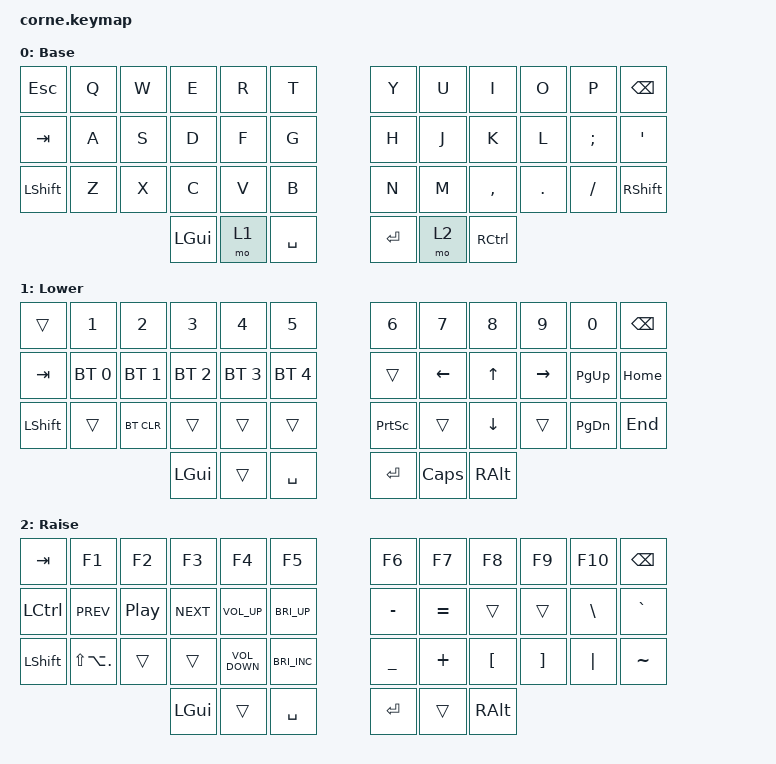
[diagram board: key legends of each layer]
/*
 * Copyright (c) 2020 The ZMK Contributors
 *
 * SPDX-License-Identifier: MIT
 */

#include <behaviors.dtsi>
#include <dt-bindings/zmk/bt.h>
#include <dt-bindings/zmk/keys.h>

/ {
    keymap {
        compatible = "zmk,keymap";

        default_layer {
            // -----------------------------------------------------------------------------------------
            // |  TAB |  Q  |  W  |  E  |  R  |  T  |   |  Y  |  U   |  I  |  O  |  P  | BKSP |
            // | CTRL |  A  |  S  |  D  |  F  |  G  |   |  H  |  J   |  K  |  L  |  ;  |  '   |
            // | SHFT |  Z  |  X  |  C  |  V  |  B  |   |  N  |  M   |  ,  |  .  |  /  | ESC  |
            //                    | GUI | LWR | SPC |   | ENT | RSE  | ALT |

            display-name = "Base";
            bindings = <
&kp ESC    &kp Q  &kp W  &kp E     &kp R  &kp T        &kp Y    &kp U  &kp I      &kp O    &kp P     &kp BSPC
&kp TAB    &kp A  &kp S  &kp D     &kp F  &kp G        &kp H    &kp J  &kp K      &kp L    &kp SEMI  &kp SQT
&kp LSHFT  &kp Z  &kp X  &kp C     &kp V  &kp B        &kp N    &kp M  &kp COMMA  &kp DOT  &kp FSLH  &kp RIGHT_SHIFT
                         &kp LGUI  &mo 1  &kp SPACE    &kp RET  &mo 2  &kp RCTRL
            >;
        };

        lower_layer {
            // -----------------------------------------------------------------------------------------
            // |  TAB |  1  |  2  |  3  |  4  |  5  |   |  6  |  7  |  8  |  9  |  0  | BKSP |
            // | BTCLR| BT1 | BT2 | BT3 | BT4 | BT5 |   | LFT | DWN |  UP | RGT |     |      |
            // | SHFT |     |     |     |     |     |   |     |     |     |     |     |      |
            //                    | GUI |     | SPC |   | ENT |     | ALT |

            display-name = "Lower";
            bindings = <
&trans     &kp N1        &kp N2        &kp N3        &kp N4        &kp N5          &kp N6           &kp N7    &kp N8          &kp N9     &kp N0         &kp BSPC
&kp TAB    &bt BT_SEL 0  &bt BT_SEL 1  &bt BT_SEL 2  &bt BT_SEL 3  &bt BT_SEL 4    &trans           &kp LEFT  &kp UP          &kp RIGHT  &kp PG_UP      &kp HOME
&kp LSHFT  &trans        &bt BT_CLR    &trans        &trans        &trans          &kp PRINTSCREEN  &trans    &kp DOWN_ARROW  &trans     &kp PAGE_DOWN  &kp END
                                       &kp LGUI      &trans        &kp SPACE       &kp RET          &kp CAPS  &kp RALT
            >;
        };

        raise_layer {
            // -----------------------------------------------------------------------------------------
            // |  TAB |  !  |  @  |  #  |  $  |  %  |   |  ^  |  &  |  *  |  (  |  )  | BKSP |
            // | CTRL |     |     |     |     |     |   |  -  |  =  |  [  |  ]  |  \  |  `   |
            // | SHFT |     |     |     |     |     |   |  _  |  +  |  {  |  }  | "|" |  ~   |
            //                    | GUI |     | SPC |   | ENT |     | ALT |

            display-name = "Raise";
            bindings = <
&kp TAB    &kp F1           &kp F2            &kp F3      &kp F4             &kp F5           &kp F6     &kp F7     &kp F8    &kp F9    &kp F10   &kp BSPC
&kp LCTRL  &kp C_PREV       &kp C_PLAY_PAUSE  &kp C_NEXT  &kp C_VOLUME_UP    &kp C_BRI_UP     &kp MINUS  &kp EQUAL  &trans    &trans    &kp BSLH  &kp GRAVE
&kp LSHFT  &kp LS(LA(DOT))  &trans            &trans      &kp C_VOLUME_DOWN  &kp C_BRI_INC    &kp UNDER  &kp PLUS   &kp LBKT  &kp RBKT  &kp PIPE  &kp TILDE
                                              &kp LGUI    &trans             &kp SPACE        &kp RET    &trans     &kp RALT
            >;
        };

        extra_1 { status = "reserved"; };

        extra_2 { status = "reserved"; };

        extra_3 { status = "reserved"; };
    };
};
